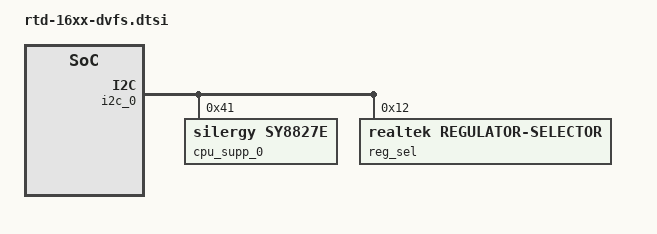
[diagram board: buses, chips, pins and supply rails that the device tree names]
/*
 * RTD-16XX CPU DVFS with GMT G2237 / SILERGY SY8827E / ANPEC APW8889
 */
#include <dt-bindings/regulator/gmt,g22xx.h>
#include <dt-bindings/regulator/anpec,apw888x.h>
#include <dt-bindings/thermal/thermal.h>

&i2c_0 {
	status = "okay";

	cpu_supp_0: sy8827e: sy8827e@41 {
		compatible = "silergy,sy8827e";
		reg = <0x41>;
		regulator-name = "cpudvs";
		regulator-min-microvolt = <712500>;
		regulator-max-microvolt = <1500000>;
		regulator-ramp-delay = <2000>;
		regulator-boot-on;
		regulator-always-on;
		status = "okay";
	};

	reg_sel: selector@12 {
		compatible = "realtek,regulator-selector";
		reg = <0x12>;
		status = "okay";
		cpu_supp: cpu-selector {
			compatible = "supply-selector";
			g2237-supply = <&cpu_supp_0>;
			apw8889-supply = <&cpu_supp_1>;
		};
		gpu_supp: gpu-selector {
			compatible = "supply-selector";
			g2237-supply = <&gpu_supp_0>;
			apw8889-supply = <&gpu_supp_1>;
		};
	};

	g2237: g2237@12 {
		compatible = "gmt,g2237";
		reg = <0x12>;

		/*** should be disabled ***/
		status = "disabled";

		powerkey_0: powerkey {
			compatible = "gmt,g22xx-powerkey";
			status = "disabled";
		};
		poweroff_0: poweroff {
			compatible = "gmt,g22xx-poweroff";
			system-power-controller;
			status = "disabled";
		};
		regulators_0: regulators {
			compatible = "gmt,g2237-regulator";
			status = "okay";
		};
	};

	apw8889: apw8889@12 {
		compatible = "anpec,apw8889";
		reg = <0x12>;

		/*** should be disabled ***/
		status = "disabled";

		powerkey_1: powerkey {
			compatible = "gmt,g22xx-powerkey";
			status = "disabled";
		};
		poweroff_1: poweroff {
			compatible = "gmt,g22xx-poweroff";
			system-power-controller;
			status = "disabled";
		};
		regulators_1: regulators {
			compatible = "anpec,apw8889-regulator";
			status = "okay";
		};

	};
};

&g2237 {
	regulators {
		vd33_supp_0: dc1 {
			regulator-name = "vd33";
			regulator-min-microvolt = <2200000>;
			regulator-max-microvolt = <3700000>;

			regulator-boot-on;
			regulator-always-on;
			regulator-initial-mode = <G22XX_DC_MODE_AUTO>;
			regulator-state-mem {
				regulator-on-in-suspend;
				regulator-suspend-microvolt = <3200000>;
			};
		};
		gpu_supp_0: dc2 {
			regulator-name = "gpudvs";
			regulator-min-microvolt = <800000>;
			regulator-max-microvolt = <1187500>;

			regulator-boot-on;
			regulator-always-on;
			regulator-initial-mode = <G22XX_DC_MODE_AUTO>;
			regulator-ramp-delay = <625>;
			regulator-state-mem {
				regulator-off-in-suspend;
			};
		};
		core_supp_0: dc3 {
			regulator-name = "core";
			regulator-min-microvolt = <800000>;
			regulator-max-microvolt = <1187500>;

			regulator-boot-on;
			regulator-always-on;
			regulator-initial-mode = <G22XX_DC_MODE_AUTO>;
			regulator-state-mem {
				regulator-on-in-suspend;
				regulator-suspend-microvolt = <900000>;
			};
		};
		ddr_supp_0: dc4 {
			regulator-name = "ddr";
			regulator-min-microvolt = <1200000>;
			regulator-max-microvolt = <1200000>;
			regulator-boot-on;
			regulator-always-on;
			regulator-initial-mode = <G22XX_DC_MODE_AUTO>;

		};
		vd18_supp_0: dc5 {
			regulator-name = "vd18";
			regulator-min-microvolt = <800000>;
			regulator-max-microvolt = <2500000>;

			regulator-boot-on;
			regulator-always-on;
			regulator-initial-mode = <G22XX_DC_MODE_AUTO>;
		};
		vd25_supp_0: ldo1 {
			regulator-name = "vd25";
			regulator-min-microvolt = <2200000>;
			regulator-max-microvolt = <3000000>;

			regulator-boot-on;
			regulator-always-on;
			regulator-initial-mode = <G22XX_LDO_MODE_NORMAL>;
		};
	};
};

&apw8889 {
	regulators {
		vd33_supp_1: dc1 {
			regulator-name = "vd33";
			regulator-min-microvolt = <2200000>;
			regulator-max-microvolt = <3777500>;

			regulator-boot-on;
			regulator-always-on;
			regulator-initial-mode = <APW8889_DC_MODE_AUTO>;
			regulator-state-mem {
				regulator-on-in-suspend;
				regulator-suspend-microvolt = <3200000>;
			};
		};
		core_supp_1: dc2 {
			regulator-name = "core";
			regulator-min-microvolt = <550000>;
			regulator-max-microvolt = <1337500>;

			regulator-boot-on;
			regulator-always-on;
			regulator-initial-mode = <APW8889_DC_MODE_AUTO>;
			regulator-state-mem {
				regulator-on-in-suspend;
				regulator-suspend-microvolt = <900000>;
			};
		};
		cpu_supp_1: dc3 {
			regulator-name = "cpudvs";
			regulator-min-microvolt = <550000>;
			regulator-max-microvolt = <1337500>;

			regulator-boot-on;
			regulator-always-on;
			regulator-initial-mode = <APW8889_DC_MODE_AUTO>;
			regulator-ramp-delay = <625>;
			regulator-state-mem {
				regulator-off-in-suspend;
			};
		};
		gpu_supp_1: dc4 {
			regulator-name = "gpudvs";
			regulator-min-microvolt = <550000>;
			regulator-max-microvolt = <1337500>;

			regulator-boot-on;
			regulator-always-on;
			regulator-initial-mode = <APW8889_DC_MODE_AUTO>;
			regulator-ramp-delay = <625>;
			regulator-state-mem {
				regulator-off-in-suspend;
			};
		};
		ddr_supp_1: dc5 {
			regulator-name = "ddr";
			regulator-min-microvolt = <1200000>;
			regulator-max-microvolt = <1200000>;
			regulator-boot-on;
			regulator-always-on;
			regulator-initial-mode = <APW8889_DC_MODE_AUTO>;
		};
		vd18_supp_1: dc6 {
			regulator-name = "vd18";
			regulator-min-microvolt = <800000>;
			regulator-max-microvolt = <2060000>;

			regulator-boot-on;
			regulator-always-on;
			regulator-initial-mode = <APW8889_DC_MODE_AUTO>;
		};
		vd25_supp_1: ldo1 {
			regulator-name = "vd25";
			regulator-min-microvolt = <1780000>;
			regulator-max-microvolt = <3020000>;

			regulator-boot-on;
			regulator-always-on;
			regulator-initial-mode = <APW8889_LDO_MODE_NORMAL>;
		};
	};
};

/* CPU nodes */
&A55_0 {
	clocks = <&cc CC_PLL_SCPU>;
	cpu-supply = <&cpu_supp>;
	operating-points-v2 = <&cpu_opps>;
	#cooling-cells = <2>;
};

&A55_1 {
	clocks = <&cc CC_PLL_SCPU>;
	cpu-supply = <&cpu_supp>;
	operating-points-v2 = <&cpu_opps>;
	#cooling-cells = <2>;
};

&A55_2 {
	clocks = <&cc CC_PLL_SCPU>;
	cpu-supply = <&cpu_supp>;
	operating-points-v2 = <&cpu_opps>;
	#cooling-cells = <2>;
};

&A55_3 {
	clocks = <&cc CC_PLL_SCPU>;
	cpu-supply = <&cpu_supp>;
	operating-points-v2 = <&cpu_opps>;
	#cooling-cells = <2>;
};

&A55_4 {
	clocks = <&cc CC_PLL_SCPU>;
	cpu-supply = <&cpu_supp>;
	operating-points-v2 = <&cpu_opps>;
	#cooling-cells = <2>;
};

&A55_5 {
	clocks = <&cc CC_PLL_SCPU>;
	cpu-supply = <&cpu_supp>;
	operating-points-v2 = <&cpu_opps>;
	#cooling-cells = <2>;
};

&dvfs {
	cpu_opps: cpu-opp-table {
		compatible = "operating-points-v2";
		opp-shared;
		opp300: opp-300mhz {
			opp-hz = /bits/ 64 <300000000>;
			opp-microvolt = <787500>;
			clock-latency-ns = <150000>;
			status = "okay";
		};
		opp400: opp-400mhz {
			opp-hz = /bits/ 64 <400000000>;
			opp-microvolt = <787500>;
			clock-latency-ns = <150000>;
			status = "disabled";
		};
		opp500: opp-500mhz {
			opp-hz = /bits/ 64 <500000000>;
			opp-microvolt = <787500>;
			clock-latency-ns = <150000>;
			status = "okay";
		};
		opp600: opp-600mhz {
			opp-hz = /bits/ 64 <600000000>;
			opp-microvolt = <787500>;
			clock-latency-ns = <150000>;
			status = "okay";
		};
		opp700: opp-700mhz {
			opp-hz = /bits/ 64 <700000000>;
			opp-microvolt = <812500>;
			clock-latency-ns = <150000>;
			status = "okay";
		};
		opp800: opp-800mhz {
			opp-hz = /bits/ 64 <800000000>;
			opp-microvolt    = <850000>;
			opp-microvolt-tt = <837500>;
			clock-latency-ns = <150000>;
			status = "okay";
		};
		opp900: opp-900mhz {
			opp-hz = /bits/ 64 <900000000>;
			opp-microvolt    = <900000>;
			opp-microvolt-tt = <887500>;
			clock-latency-ns = <150000>;
			status = "okay";
		};
		opp1000: opp-1000mhz {
			opp-hz = /bits/ 64 <1000000000>;
			opp-microvolt    = <950000>;
			opp-microvolt-tt = <937500>;
			clock-latency-ns = <150000>;
			status = "okay";
		};
		opp1100: opp-1100mhz {
			opp-hz = /bits/ 64 <1100000000>;
			opp-microvolt    = <1012500>;
			opp-microvolt-tt = <987500>;
			clock-latency-ns = <150000>;
			status = "okay";
		};
		opp1200: opp-1200mhz {
			opp-hz = /bits/ 64 <1200000000>;
			opp-microvolt    = <1062500>;
			opp-microvolt-tt = <1025000>;
			clock-latency-ns = <150000>;
			opp-suspend;
			status = "okay";
		};
		opp1300: opp-1300mhz {
			opp-hz = /bits/ 64 <1300000000>;
			opp-microvolt    = <1125000>;
			opp-microvolt-tt = <1075000>;
			clock-latency-ns = <150000>;
			status = "okay";
		};
		opp1400: opp-1400mhz {
			opp-hz = /bits/ 64 <1400000000>;
			opp-microvolt = <1125000>;
			clock-latency-ns = <150000>;
			status = "disabled";
		};
	};
};

&cpu_thermal {
	trips {
		tm_alert0: cpu-alert0 {
			temperature = <105000>;
			hysteresis = <0>;
			type = "passive";
		};
		tm_alert1: cpu-alert1 {
			temperature = <115000>;
			hysteresis = <0>;
			type = "passive";
		};
	};
	cooling-maps {
		cpu-map0 {
			trip = <&tm_alert0>;
			cooling-device = <&A55_0 THERMAL_NO_LIMIT 6>;
			contribution = <70>;
		};
		cpu-map1 {
			trip = <&tm_alert1>;
			cooling-device = <&A55_0 7 THERMAL_NO_LIMIT>;
			contribution = <70>;
		};
	};
};


&gpu {
	mali-supply = <&gpu_supp>;
	operating-points-v2 = <&gpu_opps>;
	assigned-clocks = <&cc CC_CLK_GPU>;
	assigned-clock-rates = <400000000>;

	gpu_opps: gpu-opp-table {
		compatible = "operating-points-v2",
			"operating-points-v2-mali";

		opp-1x400 {
			opp-hz = /bits/ 64 <133000000>;
			opp-hz-real = /bits/ 64 <400000000>;
			opp-microvolt = <1000000>;
			opp-core-mask = /bits/ 64 <0x2>;
		};
		opp-2x400 {
			opp-hz = /bits/ 64 <266000000>;
			opp-hz-real = /bits/ 64 <400000000>;
			opp-microvolt = <1000000>;
			opp-core-mask = /bits/ 64 <0x1>;
		};
		opp-3x400 {
			opp-hz = /bits/ 64 <400000000>;
			opp-hz-real = /bits/ 64 <400000000>;
			opp-microvolt = <1000000>;
			opp-suspend;
		};
		opp-3x500 {
			opp-hz = /bits/ 64 <500000000>;
			opp-hz-real = /bits/ 64 <500000000>;
			opp-microvolt = <1000000>;
		};
		opp-3x600 {
			opp-hz = /bits/ 64 <600000000>;
			opp-hz-real = /bits/ 64 <600000000>;
			opp-microvolt = <1000000>;
		};
		opp-3x700 {
			opp-hz = /bits/ 64 <700000000>;
			opp-hz-real = /bits/ 64 <700000000>;
			opp-microvolt = <1000000>;
		};
	};
};

